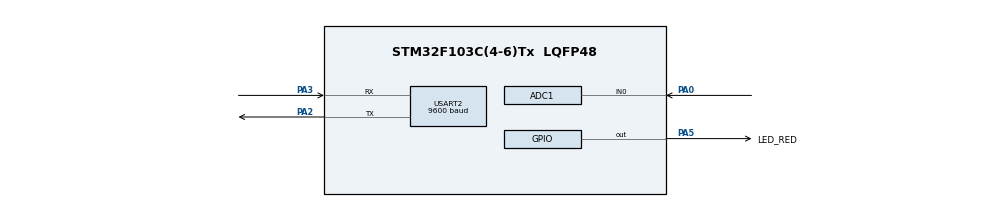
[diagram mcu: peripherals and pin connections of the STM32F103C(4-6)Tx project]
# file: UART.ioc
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ADC1.Channel-0\#ChannelRegularConversion=ADC_CHANNEL_0
ADC1.ContinuousConvMode=ENABLE
ADC1.NbrOfConversionFlag=1
ADC1.Rank-0\#ChannelRegularConversion=1
ADC1.SamplingTime-0\#ChannelRegularConversion=ADC_SAMPLETIME_1CYCLE_5
ADC1.master=1
Mcu.Family=STM32F1
Mcu.Name=STM32F103C(4-6)Tx
Mcu.Package=LQFP48
NVIC.PriorityGroup=NVIC_PRIORITYGROUP_4
NVIC.USART2_IRQn=true\:0\:0\:false\:false\:true\:true\:true
PA0-WKUP.Signal=ADCx_IN0
PA2.Mode=Asynchronous
PA2.Signal=USART2_TX
PA3.Mode=Asynchronous
PA3.Signal=USART2_RX
PA5.GPIO_Label=LED_RED
PA5.Signal=GPIO_Output
ProjectManager.HeapSize=0x200
ProjectManager.StackSize=0x400
ProjectManager.TargetToolchain=STM32CubeIDE
RCC.APB1Freq_Value=8000000
RCC.APB2Freq_Value=8000000
SH.ADCx_IN0.0=ADC1_IN0,IN0
TIM2.Period=9
TIM2.Prescaler=7999
USART2.BaudRate=9600
USART2.VirtualMode=VM_ASYNC
VP_SYS_VS_ND.Mode=No_Debug
VP_TIM2_VS_ClockSourceINT.Mode=Internal
board=custom

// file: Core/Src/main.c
/* USER CODE BEGIN Header */
/**
  ******************************************************************************
  * @file           : main.c
  * @brief          : Main program body
  ******************************************************************************
  * @attention
  *
  * <h2><center>&copy; Copyright (c) 2023 STMicroelectronics.
  * All rights reserved.</center></h2>
  *
  * This software component is licensed by ST under BSD 3-Clause license,
  * the "License"; You may not use this file except in compliance with the
  * License. You may obtain a copy of the License at:
  *                        opensource.org/licenses/BSD-3-Clause
  *
  ******************************************************************************
  */
/* USER CODE END Header */
#include "main.h"

/* USER CODE BEGIN Includes */
#include <stdio.h>
#include <string.h>
#include <stdlib.h>
#include "timer.h"
/* USER CODE END Includes */

ADC_HandleTypeDef hadc1;
TIM_HandleTypeDef htim2;
UART_HandleTypeDef huart2;

void SystemClock_Config(void);
static void MX_GPIO_Init(void);
static void MX_ADC1_Init(void);
static void MX_USART2_UART_Init(void);
static void MX_TIM2_Init(void);
/* USER CODE BEGIN PFP */
void command_parser_fsm(void);
void uart_communication_fsm(void);
/* USER CODE END PFP */

/* USER CODE BEGIN 0 */
#define MAX_BUFFER_SIZE  30
uint32_t ADC_value = 0;
uint8_t temp = 0;
uint8_t buffer[MAX_BUFFER_SIZE];
uint8_t index_buffer = 0;
uint8_t buffer_flag = 0;

uint8_t command_ok[] = "!OK#";
uint8_t command_rst[] = "!RST#";
uint8_t command_adc[] = "!ADC=";
uint8_t newline[]= "\r\n";

void HAL_UART_RxCpltCallback(UART_HandleTypeDef *huart){
	if(huart->Instance == USART2){
		HAL_UART_Receive_IT(&huart2, &temp, 1);
		buffer_flag = 1;
	}
}
/* USER CODE END 0 */

int main(void)
{

  /* MCU Configuration--------------------------------------------------------*/

  /* Reset of all peripherals, Initializes the Flash interface and the Systick. */
  HAL_Init();

  /* Configure the system clock */
  SystemClock_Config();

  /* Initialize all configured peripherals */
  MX_GPIO_Init();
  MX_ADC1_Init();
  MX_USART2_UART_Init();
  MX_TIM2_Init();
  /* USER CODE BEGIN 2 */
  HAL_UART_Receive_IT(&huart2, &temp, 1);
  /* USER CODE END 2 */

  /* Infinite loop */
  /* USER CODE BEGIN WHILE */
  while (1)
  {
	    if(buffer_flag == 1){
	        command_parser_fsm();
	        buffer_flag = 0;
	    }
	    uart_communication_fsm();
    /* USER CODE END WHILE */

  }
}

void SystemClock_Config(void)
{
  RCC_OscInitTypeDef RCC_OscInitStruct = {0};
  RCC_ClkInitTypeDef RCC_ClkInitStruct = {0};
  RCC_PeriphCLKInitTypeDef PeriphClkInit = {0};

  /** Initializes the RCC Oscillators according to the specified parameters
  * in the RCC_OscInitTypeDef structure.
  */
  RCC_OscInitStruct.OscillatorType = RCC_OSCILLATORTYPE_HSI;
  RCC_OscInitStruct.HSIState = RCC_HSI_ON;
  RCC_OscInitStruct.HSICalibrationValue = RCC_HSICALIBRATION_DEFAULT;
  RCC_OscInitStruct.PLL.PLLState = RCC_PLL_NONE;
  if (HAL_RCC_OscConfig(&RCC_OscInitStruct) != HAL_OK)
  {
    Error_Handler();
  }
  /** Initializes the CPU, AHB and APB buses clocks
  */
  RCC_ClkInitStruct.ClockType = RCC_CLOCKTYPE_HCLK|RCC_CLOCKTYPE_SYSCLK
                              |RCC_CLOCKTYPE_PCLK1|RCC_CLOCKTYPE_PCLK2;
  RCC_ClkInitStruct.SYSCLKSource = RCC_SYSCLKSOURCE_HSI;
  RCC_ClkInitStruct.AHBCLKDivider = RCC_SYSCLK_DIV1;
  RCC_ClkInitStruct.APB1CLKDivider = RCC_HCLK_DIV1;
  RCC_ClkInitStruct.APB2CLKDivider = RCC_HCLK_DIV1;

  if (HAL_RCC_ClockConfig(&RCC_ClkInitStruct, FLASH_LATENCY_0) != HAL_OK)
  {
    Error_Handler();
  }
  PeriphClkInit.PeriphClockSelection = RCC_PERIPHCLK_ADC;
  PeriphClkInit.AdcClockSelection = RCC_ADCPCLK2_DIV2;
  if (HAL_RCCEx_PeriphCLKConfig(&PeriphClkInit) != HAL_OK)
  {
    Error_Handler();
  }
}

static void MX_ADC1_Init(void)
{

  ADC_ChannelConfTypeDef sConfig = {0};

  /** Common config
  */
  hadc1.Instance = ADC1;
  hadc1.Init.ScanConvMode = ADC_SCAN_DISABLE;
  hadc1.Init.ContinuousConvMode = ENABLE;
  hadc1.Init.DiscontinuousConvMode = DISABLE;
  hadc1.Init.ExternalTrigConv = ADC_SOFTWARE_START;
  hadc1.Init.DataAlign = ADC_DATAALIGN_RIGHT;
  hadc1.Init.NbrOfConversion = 1;
  if (HAL_ADC_Init(&hadc1) != HAL_OK)
  {
    Error_Handler();
  }
  /** Configure Regular Channel
  */
  sConfig.Channel = ADC_CHANNEL_0;
  sConfig.Rank = ADC_REGULAR_RANK_1;
  sConfig.SamplingTime = ADC_SAMPLETIME_1CYCLE_5;
  if (HAL_ADC_ConfigChannel(&hadc1, &sConfig) != HAL_OK)
  {
    Error_Handler();
  }

}

static void MX_TIM2_Init(void)
{

  TIM_ClockConfigTypeDef sClockSourceConfig = {0};
  TIM_MasterConfigTypeDef sMasterConfig = {0};

  htim2.Instance = TIM2;
  htim2.Init.Prescaler = 7999;
  htim2.Init.CounterMode = TIM_COUNTERMODE_UP;
  htim2.Init.Period = 9;
  htim2.Init.ClockDivision = TIM_CLOCKDIVISION_DIV1;
  htim2.Init.AutoReloadPreload = TIM_AUTORELOAD_PRELOAD_DISABLE;
  if (HAL_TIM_Base_Init(&htim2) != HAL_OK)
  {
    Error_Handler();
  }
  sClockSourceConfig.ClockSource = TIM_CLOCKSOURCE_INTERNAL;
  if (HAL_TIM_ConfigClockSource(&htim2, &sClockSourceConfig) != HAL_OK)
  {
    Error_Handler();
  }
  sMasterConfig.MasterOutputTrigger = TIM_TRGO_RESET;
  sMasterConfig.MasterSlaveMode = TIM_MASTERSLAVEMODE_DISABLE;
  if (HAL_TIMEx_MasterConfigSynchronization(&htim2, &sMasterConfig) != HAL_OK)
  {
    Error_Handler();
  }

}

static void MX_USART2_UART_Init(void)
{

  huart2.Instance = USART2;
  huart2.Init.BaudRate = 9600;
  huart2.Init.WordLength = UART_WORDLENGTH_8B;
  huart2.Init.StopBits = UART_STOPBITS_1;
  huart2.Init.Parity = UART_PARITY_NONE;
  huart2.Init.Mode = UART_MODE_TX_RX;
  huart2.Init.HwFlowCtl = UART_HWCONTROL_NONE;
  huart2.Init.OverSampling = UART_OVERSAMPLING_16;
  if (HAL_UART_Init(&huart2) != HAL_OK)
  {
    Error_Handler();
  }

}

static void MX_GPIO_Init(void)
{
  GPIO_InitTypeDef GPIO_InitStruct = {0};

  /* GPIO Ports Clock Enable */
  __HAL_RCC_GPIOA_CLK_ENABLE();

  /*Configure GPIO pin Output Level */
  HAL_GPIO_WritePin(LED_RED_GPIO_Port, LED_RED_Pin, GPIO_PIN_RESET);

  /*Configure GPIO pin : LED_RED_Pin */
  GPIO_InitStruct.Pin = LED_RED_Pin;
  GPIO_InitStruct.Mode = GPIO_MODE_OUTPUT_PP;
  GPIO_InitStruct.Pull = GPIO_NOPULL;
  GPIO_InitStruct.Speed = GPIO_SPEED_FREQ_LOW;
  HAL_GPIO_Init(LED_RED_GPIO_Port, &GPIO_InitStruct);

}

/* USER CODE BEGIN 4 */
// PARSER FSM
enum ParserState {AWAIT, PARSE, VALIDATE};
enum ParserState pState = AWAIT;

// UART FSM
enum CommunicationState {INIT, RST, AWAIT_OK, OK};
enum CommunicationState cState = INIT;

void command_parser_fsm(void) {
	switch(pState) {
	case AWAIT:
		if(temp == '!') {
			index_buffer = 0;
			buffer[index_buffer++] = temp;
			pState = PARSE;
		}
		break;
	case VALIDATE:
		buffer[index_buffer] = '\0';
		if(strcmp(buffer, command_ok) == 0) {
			HAL_UART_Transmit(&huart2, newline, sizeof(newline), 1000);
			cState = OK;
		}
		if(strcmp(buffer, command_rst) == 0) {
			cState = RST;
		}
		pState = AWAIT;
		break;
	case PARSE:
		buffer[index_buffer++] = temp;
		if(index_buffer >= MAX_BUFFER_SIZE) {
			index_buffer = 0;
			pState = AWAIT;
		}
		if(temp == '#') pState = VALIDATE;
	}
}

void ADC_Transmit(void) {
	char second[11];
	itoa(ADC_value, second, 11);
	second[strlen(second)] = '#';
	HAL_UART_Transmit(&huart2, command_adc, sizeof(command_adc), 1000);
	HAL_UART_Transmit(&huart2, (uint8_t*)second, strlen(second), 1000);
	HAL_UART_Transmit(&huart2, newline, sizeof(newline), 1000);
}

void uart_communication_fsm(void) {
	switch (cState) {
	case INIT:
		break;
	case RST:
		ADC_value = HAL_ADC_GetValue(&hadc1);
		HAL_UART_Transmit(&huart2, newline, sizeof(newline), 1000);
		ADC_Transmit();
		setTimer(300);
		cState = AWAIT_OK;
		break;
	case AWAIT_OK:
		if(flag == 1) {
			ADC_Transmit();
			setTimer(300);
		}
	case OK:
		break;
	default:
		break;
	}
}
/* USER CODE END 4 */

void Error_Handler(void)
{
  __disable_irq();
  while (1)
  {
  }
}

/************************ (C) COPYRIGHT STMicroelectronics *****END OF FILE****/
